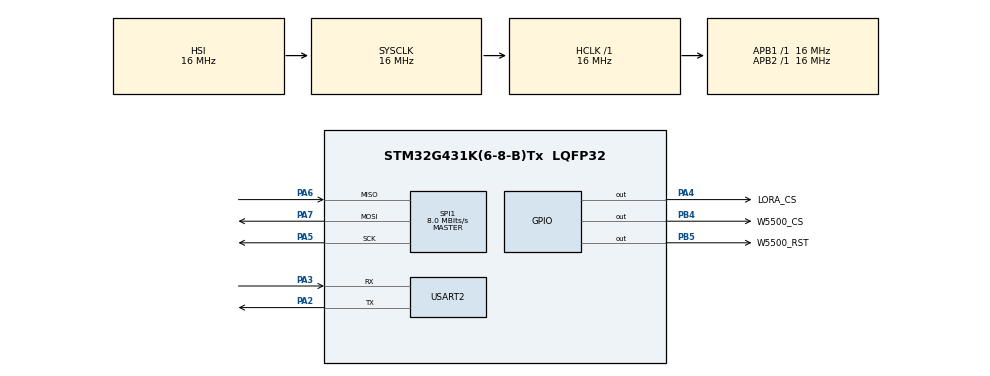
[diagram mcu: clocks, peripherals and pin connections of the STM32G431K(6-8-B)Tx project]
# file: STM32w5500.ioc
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Mcu.Family=STM32G4
Mcu.Name=STM32G431K(6-8-B)Tx
Mcu.Package=LQFP32
NVIC.PriorityGroup=NVIC_PRIORITYGROUP_4
PA2.Mode=Asynchronous
PA2.Signal=USART2_TX
PA3.Mode=Asynchronous
PA3.Signal=USART2_RX
PA4.GPIO_Label=LORA_CS
PA4.PinState=GPIO_PIN_SET
PA4.Signal=GPIO_Output
PA5.Mode=Full_Duplex_Master
PA5.Signal=SPI1_SCK
PA6.Mode=Full_Duplex_Master
PA6.Signal=SPI1_MISO
PA7.Mode=Full_Duplex_Master
PA7.Signal=SPI1_MOSI
PB4.GPIO_Label=W5500_CS
PB4.PinState=GPIO_PIN_SET
PB4.Signal=GPIO_Output
PB5.GPIO_Label=W5500_RST
PB5.PinState=GPIO_PIN_SET
PB5.Signal=GPIO_Output
ProjectManager.HeapSize=0x200
ProjectManager.StackSize=0x400
ProjectManager.TargetToolchain=STM32CubeIDE
RCC.AHBFreq_Value=16000000
RCC.APB1Freq_Value=16000000
RCC.APB1TimFreq_Value=16000000
RCC.APB2Freq_Value=16000000
RCC.APB2TimFreq_Value=16000000
RCC.CortexFreq_Value=16000000
RCC.EXTERNAL_CLOCK_VALUE=12288000
RCC.HCLKFreq_Value=16000000
RCC.HSE_VALUE=8000000
RCC.HSI48_VALUE=48000000
RCC.HSI_VALUE=16000000
RCC.LSE_VALUE=32768
RCC.SYSCLKFreq_VALUE=16000000
RCC.USBFreq_Value=64000000
RCC.VCOOutputFreq_Value=128000000
SPI1.CalculateBaudRate=8.0 MBits/s
SPI1.DataSize=SPI_DATASIZE_8BIT
SPI1.Direction=SPI_DIRECTION_2LINES
SPI1.Mode=SPI_MODE_MASTER
SPI1.VirtualType=VM_MASTER
USART2.VirtualMode-Asynchronous=VM_ASYNC
board=custom

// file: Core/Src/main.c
/* USER CODE BEGIN Header */
/**
  ******************************************************************************
  * @file           : main.c
  * @brief          : Main program body
  ******************************************************************************
  * @attention
  *
  * Copyright (c) 2023 STMicroelectronics.
  * All rights reserved.
  *
  * This software is licensed under terms that can be found in the LICENSE file
  * in the root directory of this software component.
  * If no LICENSE file comes with this software, it is provided AS-IS.
  *
  ******************************************************************************
  */
/* USER CODE END Header */
#include "main.h"
#include "spi.h"
#include "usart.h"
#include "gpio.h"

/* USER CODE BEGIN Includes */
#include <string.h>

/* USER CODE END Includes */

/* USER CODE BEGIN PD */

/*Receive Buffer Size define*/
#define ETH_MAX_BUF_SIZE	2048
/* USER CODE END PD */

/* USER CODE BEGIN PM */
void print_network_information(void);
int process_dhcp(void);
/* USER CODE END PM */

/* USER CODE BEGIN PV */
/*Global variables*/
wiz_NetInfo gWIZNETINFO = { .mac = {0x00,0x08,0xdc,0x78,0x91,0x71},
							.ip = {192,168,1,30},
							.sn = {255, 255, 255, 0},
							.gw = {192, 168, 1, 1},
							.dns = {8, 8, 8, 8},
							.dhcp = NETINFO_DHCP};
/* USER CODE END PV */

void SystemClock_Config(void);

/* USER CODE BEGIN 0 */
struct opts_struct
{
	char* clientid;
	int nodelimiter;
	char* delimiter;
	enum QoS qos;
	char* username;
	char* password;
	char* host;
	int port;
	int showtopics;
} opts =
{
	(char*)"stdout-subscriber",
	0,
	(char*)"\n",
	QOS0,
	"ydwsvhca",
	"majOBrcrW64E",
	(char*)"localhost",
	1883,
	0
};
unsigned char TargetName[] = "driver.cloudmqtt.com";
unsigned char targetIP[4] = {5,196,95,208};
unsigned int targetPort = 18602;
void messageArrived(MessageData* md)
{
	printf("Message Received\r\n");
	unsigned char testbuffer[100];
	MQTTMessage* message = md->message;

	if (opts.showtopics)
	{
		memcpy(testbuffer,(char*)message->payload,(int)message->payloadlen);
		testbuffer[(int)message->payloadlen + 1] = 0x0a;
//		*(testbuffer + (int)message->payloadlen + 1) = "\n";
		printf("%s\r\n",testbuffer);
	}
	//	printf("%12s\r\n", md->topicName->lenstring.len, md->topicName->lenstring.data);
	if (opts.nodelimiter)
		printf("%.*s", (int)message->payloadlen, (char*)message->payload);
	else
		printf("%.*s%s", (int)message->payloadlen, (char*)message->payload, opts.delimiter);
	//fflush(stdout);
}

unsigned char ethBuf0[ETH_MAX_BUF_SIZE];
unsigned char ethBuf1[ETH_MAX_BUF_SIZE];
unsigned char ethBuf2[ETH_MAX_BUF_SIZE];
unsigned char ethBuf3[ETH_MAX_BUF_SIZE];
uint8_t uartBuf[64];
uint8_t uartBufLen = 0;

uint8_t ret = 0;
uint8_t dhcp_retry = 0;
/* USER CODE END 0 */

int main(void)
{
  /* USER CODE BEGIN 1 */
	int i;
	int rc = 0;
	unsigned char buf[100];
  /* USER CODE END 1 */

  /* MCU Configuration--------------------------------------------------------*/

  /* Reset of all peripherals, Initializes the Flash interface and the Systick. */
  HAL_Init();

  /* Configure the system clock */
  SystemClock_Config();

  /* Initialize all configured peripherals */
  MX_GPIO_Init();
  MX_SPI1_Init();
  MX_USART2_UART_Init();
  /* USER CODE BEGIN 2 */
	printf("W5500 Start.\n\r");
//	Eth.setSpi(&hspi1, W5500_CS_GPIO_Port, W5500_CS_Pin, W5500_RST_GPIO_Port, W5500_RST_Pin);

	/*Setup W5500, including the memory allegation to each socket for RX/TX*/
	W5500Initialze();
	printf("\r\nCHIP Version: %02x\r\n", getVERSIONR());

	/*Set network informations (Writes network info to W5500)*/
	wizchip_setnetinfo(&gWIZNETINFO);
	ctlnetwork(CN_SET_NETINFO,&gWIZNETINFO);

	printf("Network Info Set\r\n");
	print_network_information();

	DHCP_init(3, ethBuf3);

	while(1){
		if(process_dhcp() == DHCP_IP_LEASED){
			printf("DHCP Success\r\n");
			break;
		}
		else
			printf("Try.....\r\n");
	}

	Network n;
	MQTTClient c;
	n.my_socket = 2;

	DNS_init(1,ethBuf1);
	while(DNS_run(gWIZNETINFO.dns,TargetName,targetIP) == 0){}

	printf("START MQTT\r\n");

	NewNetwork(&n, 0);
	ConnectNetwork(&n, targetIP, targetPort);
	MQTTClientInit(&c,&n,1000,buf,100,ethBuf2,2048);

	print_network_information();
	printf("Target IP  Address : %d.%d.%d.%d:%d\n\r",targetIP[0],targetIP[1],targetIP[2],targetIP[3],targetPort);

	MQTTPacket_connectData data = MQTTPacket_connectData_initializer;
	data.willFlag = 0;
	data.MQTTVersion = 3;
	data.clientID.cstring = opts.clientid;
	data.username.cstring = opts.username;
	data.password.cstring = opts.password;

	data.keepAliveInterval = 60;
	data.cleansession = 1;

	rc = MQTTConnect(&c, &data);
	printf("MQTT Connected\r\n");

	opts.showtopics = 1;
	rc = MQTTSubscribe(&c, "joe/test", opts.qos, messageArrived);
	printf("MQTT Subscribed\r\n");
  /* USER CODE END 2 */

  /* Infinite loop */
  while (1)
  {

    /* USER CODE BEGIN 3 */
	  MQTTYield(&c, 1000);
  }
  /* USER CODE END 3 */
}

void SystemClock_Config(void)
{
  RCC_OscInitTypeDef RCC_OscInitStruct = {0};
  RCC_ClkInitTypeDef RCC_ClkInitStruct = {0};

  /** Configure the main internal regulator output voltage
  */
  HAL_PWREx_ControlVoltageScaling(PWR_REGULATOR_VOLTAGE_SCALE1);

  /** Initializes the RCC Oscillators according to the specified parameters
  * in the RCC_OscInitTypeDef structure.
  */
  RCC_OscInitStruct.OscillatorType = RCC_OSCILLATORTYPE_HSI;
  RCC_OscInitStruct.HSIState = RCC_HSI_ON;
  RCC_OscInitStruct.HSICalibrationValue = RCC_HSICALIBRATION_DEFAULT;
  RCC_OscInitStruct.PLL.PLLState = RCC_PLL_NONE;
  if (HAL_RCC_OscConfig(&RCC_OscInitStruct) != HAL_OK)
  {
    Error_Handler();
  }

  /** Initializes the CPU, AHB and APB buses clocks
  */
  RCC_ClkInitStruct.ClockType = RCC_CLOCKTYPE_HCLK|RCC_CLOCKTYPE_SYSCLK
                              |RCC_CLOCKTYPE_PCLK1|RCC_CLOCKTYPE_PCLK2;
  RCC_ClkInitStruct.SYSCLKSource = RCC_SYSCLKSOURCE_HSI;
  RCC_ClkInitStruct.AHBCLKDivider = RCC_SYSCLK_DIV1;
  RCC_ClkInitStruct.APB1CLKDivider = RCC_HCLK_DIV1;
  RCC_ClkInitStruct.APB2CLKDivider = RCC_HCLK_DIV1;

  if (HAL_RCC_ClockConfig(&RCC_ClkInitStruct, FLASH_LATENCY_0) != HAL_OK)
  {
    Error_Handler();
  }
}

/* USER CODE BEGIN 4 */
void print_network_information(void)
{
	memset(&gWIZNETINFO,0,sizeof(gWIZNETINFO));

	wizchip_getnetinfo(&gWIZNETINFO);
	printf("MAC Address : %02x:%02x:%02x:%02x:%02x:%02x\n\r",gWIZNETINFO.mac[0],gWIZNETINFO.mac[1],gWIZNETINFO.mac[2],gWIZNETINFO.mac[3],gWIZNETINFO.mac[4],gWIZNETINFO.mac[5]);
	printf("IP  Address : %d.%d.%d.%d\n\r",gWIZNETINFO.ip[0],gWIZNETINFO.ip[1],gWIZNETINFO.ip[2],gWIZNETINFO.ip[3]);
	printf("Subnet Mask : %d.%d.%d.%d\n\r",gWIZNETINFO.sn[0],gWIZNETINFO.sn[1],gWIZNETINFO.sn[2],gWIZNETINFO.sn[3]);
	printf("Gateway     : %d.%d.%d.%d\n\r",gWIZNETINFO.gw[0],gWIZNETINFO.gw[1],gWIZNETINFO.gw[2],gWIZNETINFO.gw[3]);
	printf("DNS Server  : %d.%d.%d.%d\n\r",gWIZNETINFO.dns[0],gWIZNETINFO.dns[1],gWIZNETINFO.dns[2],gWIZNETINFO.dns[3]);
}

int process_dhcp(void){
	int8_t ret =0;
	while(1){
		ret = DHCP_run();
		if(ret == DHCP_IP_LEASED)
		{
				printf("=============================\r\n");
				print_network_information();
				printf("=============================\r\n");
				break;
		}
		else if(ret == DHCP_FAILED)
		{
			dhcp_retry++;
		}

		if(dhcp_retry > 3)
		{
			DHCP_stop();
			break;
		}
	}
	return ret;
}
/* USER CODE END 4 */

void Error_Handler(void)
{
  __disable_irq();
  while (1)
  {
  }
}
